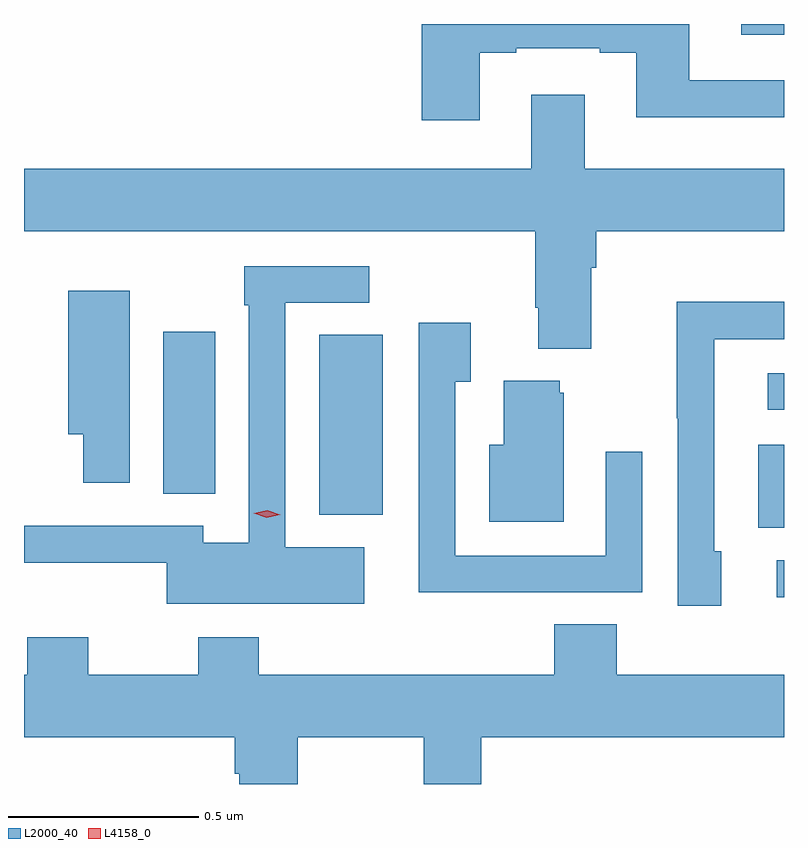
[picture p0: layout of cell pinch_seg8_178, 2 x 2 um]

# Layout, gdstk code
import gdstk
lib = gdstk.Library(unit=1e-6, precision=1e-09)
def R(c, l, rs):  # rectangles x0, y0, x1, y1
    for r in rs: c.add(gdstk.rectangle(r[:2], r[2:], *l))
def P(c, l, *ps):  # polygons
    for p in ps: c.add(gdstk.Polygon(p, *l))
L2000_40 = (2000, 40)
L4158_0 = (4158, 0)

pinch_seg8_178 = lib.new_cell('pinch_seg8_178')
R(pinch_seg8_178, L2000_40, [(663.801,1139.513,663.82,1139.61), (663.752,1139.695,663.82,1139.914), (662.597,1139.729,662.764,1140.203), (662.186,1139.785,662.323,1140.211), (663.777,1140.006,663.82,1140.102), (663.707,1140.993,663.82,1141.021)])
P(pinch_seg8_178, L2000_40, [(663.019,1140.945),(663.115,1140.945),(663.115,1140.957),(663.335,1140.957),(663.335,1140.945),(663.431,1140.945),(663.431,1140.776),(663.82,1140.776),(663.82,1140.873),(663.571,1140.873),(663.571,1141.021),(662.867,1141.021),(662.867,1140.768),(663.019,1140.768)],
  [(663.313,1140.38),(663.326,1140.38),(663.326,1140.476),(663.82,1140.476),(663.82,1140.64),(663.295,1140.64),(663.295,1140.835),(663.155,1140.835),(663.155,1140.64),(661.82,1140.64),(661.82,1140.476),(663.166,1140.476),(663.166,1140.274),(663.173,1140.274),(663.173,1140.167),(663.313,1140.167)],
  [(662.716,1139.644),(662.508,1139.644),(662.508,1140.288),(662.728,1140.288),(662.728,1140.384),(662.4,1140.384),(662.4,1140.281),(662.412,1140.281),(662.412,1139.656),(662.292,1139.656),(662.292,1139.7),(661.82,1139.7),(661.82,1139.603),(662.196,1139.603),(662.196,1139.495),(662.716,1139.495)],
  [(662.098,1140.319),(661.937,1140.319),(661.937,1139.942),(661.976,1139.942),(661.976,1139.814),(662.098,1139.814)],
  [(663.655,1139.634),(663.636,1139.634),(663.636,1140.192),(663.82,1140.192),(663.82,1140.29),(663.538,1140.29),(663.538,1139.983),(663.54,1139.983),(663.54,1139.49),(663.655,1139.49)],
  [(663.131,1139.526),(663.447,1139.526),(663.447,1139.896),(663.351,1139.896),(663.351,1139.622),(662.955,1139.622),(662.955,1140.079),(662.995,1140.079),(662.995,1140.235),(662.859,1140.235),(662.859,1139.525),(663.131,1139.525)],
  [(663.241,1140.051),(663.23,1140.051),(663.23,1140.082),(663.083,1140.082),(663.083,1139.914),(663.044,1139.914),(663.044,1139.711),(663.241,1139.711)],
  [(662.54,1139.144),(662.872,1139.144),(662.872,1139.021),(663.023,1139.021),(663.023,1139.144),(663.82,1139.144),(663.82,1139.308),(663.38,1139.308),(663.38,1139.441),(663.215,1139.441),(663.215,1139.308),(662.438,1139.308),(662.438,1139.407),(662.278,1139.407),(662.278,1139.308),(661.989,1139.308),(661.989,1139.407),(661.829,1139.407),(661.829,1139.308),(661.82,1139.308),(661.82,1139.144),(662.375,1139.144),(662.375,1139.048),(662.387,1139.048),(662.387,1139.021),(662.54,1139.021)])
P(pinch_seg8_178, L4158_0, [(662.459,1139.722),(662.425,1139.733),(662.424,1139.733),(662.425,1139.733),(662.46,1139.742),(662.494,1139.73),(662.494,1139.73),(662.494,1139.73)])

lib.write_gds('pinch_seg8_178.gds')
